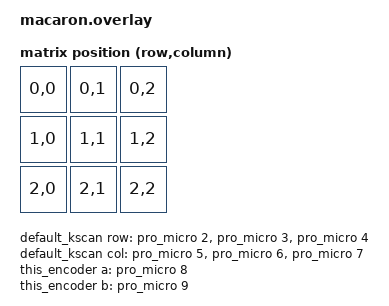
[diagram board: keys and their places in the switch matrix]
#include <dt-bindings/zmk/matrix_transform.h>

/ {
    chosen{
        zmk,kscan = &default_kscan;
        zmk,matrix_transform = &default_transform;
        zmk,sensors = &default_sensors;
    };

    default_kscan: kscan{
        compatible = "zmk,kscan-gpio-matrix";
        label = "default_kscan";
        diode-direction = "col2row";

        row-gpios = <&pro_micro 2 (GPIO_ACTIVE_HIGH | GPIO_PULL_DOWN)>,
                    <&pro_micro 3 (GPIO_ACTIVE_HIGH | GPIO_PULL_DOWN)>,
                    <&pro_micro 4 (GPIO_ACTIVE_HIGH | GPIO_PULL_DOWN)>;

        col-gpios = <&pro_micro 5 GPIO_ACTIVE_HIGH>,
                    <&pro_micro 6 GPIO_ACTIVE_HIGH>,
                    <&pro_micro 7 GPIO_ACTIVE_HIGH>;
    };

    this_encoder: encoder {
        compatible = "alps,ec11";
        a-gpios = <&pro_micro 8 (GPIO_ACTIVE_HIGH | GPIO_PULL_UP)>;
        b-gpios = <&pro_micro 9 (GPIO_ACTIVE_HIGH | GPIO_PULL_UP)>;
        steps = <20>;
        status = "okay";
    };

    default_sensors: sensors {
        compatible = "zmk,keymap-sensors";
        sensors = <&this_encoder>;
        triggers-per-rotation = <20>;
    };

    default_transform: matrix_transform{
        compatible = "zmk,matrix-transform";
        rows = <3>;
        columns = <3>;

        map = <
            RC(0,0) RC(0,1) RC(0,2)
            RC(1,0) RC(1,1) RC(1,2)
            RC(2,0) RC(2,1) RC(2,2)
        >;
    };

};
